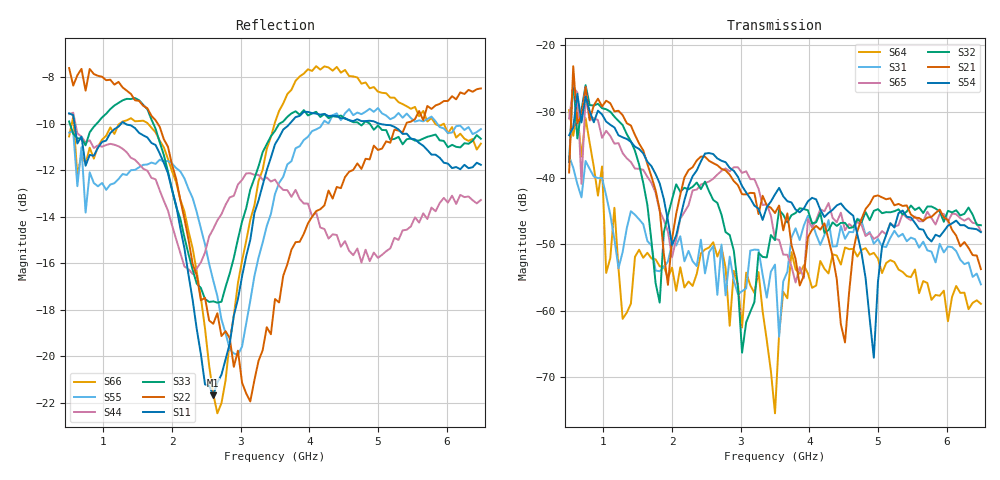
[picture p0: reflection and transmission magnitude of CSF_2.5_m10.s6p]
!Keysight Technologies,M9804A,MY58100912,A.14.10.03
!Date: Thursday, April 27, 2023 10:28:33
!Correction: S11(C  6-Port  )
!S12(C  6-Port  )
!S13(C  6-Port  )
!S14(C  6-Port  )
!S15(C  6-Port  )
!S16(C  6-Port  )
!S21(C  6-Port  )
!S22(C  6-Port  )
!S23(C  6-Port  )
!S24(C  6-Port  )
!S25(C  6-Port  )
!S26(C  6-Port  )
!S31(C  6-Port  )
!S32(C  6-Port  )
!S33(C  6-Port  )
!S34(C  6-Port  )
!S35(C  6-Port  )
!S36(C  6-Port  )
!S41(C  6-Port  )
!S42(C  6-Port  )
!S43(C  6-Port  )
!S44(C  6-Port  )
!S45(C  6-Port  )
!S46(C  6-Port  )
!S51(C  6-Port  )
!S52(C  6-Port  )
!S53(C  6-Port  )
!S54(C  6-Port  )
!S55(C  6-Port  )
!S56(C  6-Port  )
!S61(C  6-Port  )
!S62(C  6-Port  )
!S63(C  6-Port  )
!S64(C  6-Port  )
!S65(C  6-Port  )
!S66(C  6-Port  )
!S6P File: Measurement: :
# Hz S  RI  R 50
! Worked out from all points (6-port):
!   101 points, 500 MHz to 6.5 GHz, reference 50 ohm
!   strongest paths, dB at 500 MHz, 2 GHz, 3.5 GHz, 5 GHz, 6.5 GHz:
!     S54: -33.5, -50.1, -42.5, -55.7, -48.2
!     S21: -39.2, -49.2, -45.3, -42.6, -53.7
!     S32: -37.6, -43.2, -49.4, -44.7, -47.1
!     S65: -31.0, -52.0, -49.2, -48.8, -48.0
!     S31: -36.7, -49.9, -53.1, -49.2, -56.0
!     S64: -29.8, -53.5, -75.5, -52.2, -59.0
!   lowest |S11| = -21.7 dB at 2.6 GHz (marker M1), VSWR 1.18, Z = 42.7 + j2.09 ohm
!   |S11| at or under -10 dB: 577.8 MHz to 1.26 GHz (682.1 MHz wide, 74.2 % of centre); 1.316 GHz to 3.716 GHz (2.401 GHz wide, 95.4 % of centre); 5.014 GHz to end of sweep
